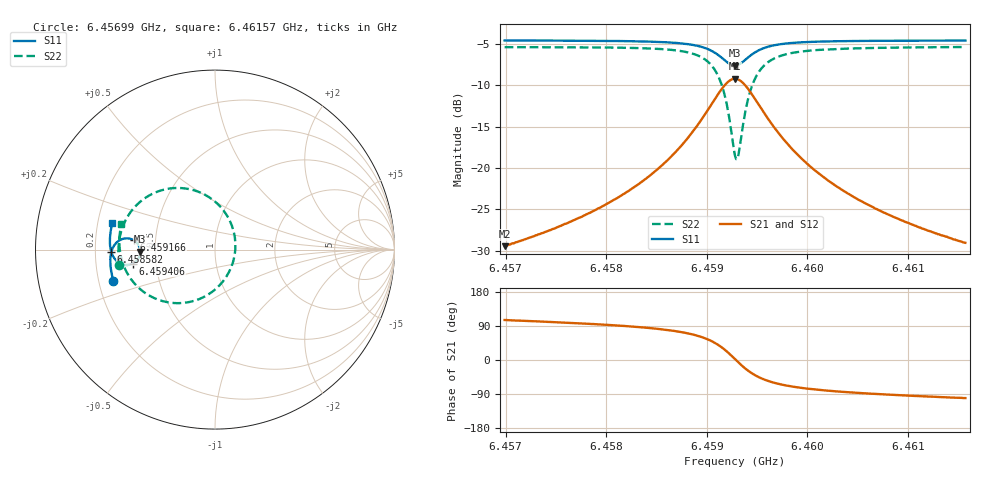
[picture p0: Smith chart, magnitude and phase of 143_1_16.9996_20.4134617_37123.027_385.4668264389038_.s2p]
#  HZ  S  RI  R  50.00
! Rohde & Schwarz Vector Network Analyzer
! Rohde-Schwarz,ZNB20-2Port,1311601062101988,3.16
! Created: UTC 3/20/2024, 10:58:25 PM
! freq[Hz]  re:S11  im:S11  re:S21  im:S21  re:S12  im:S12  re:S22  im:S22
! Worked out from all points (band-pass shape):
!   401 points, 6.45699 GHz to 6.46157 GHz, reference 50 ohm
!   highest |S21| = -9.19 dB at 6.45928 GHz (marker M1); lowest = -29.4 dB at 6.45699 GHz (marker M2)
!   |S21| within 3 dB of the highest: 6.459051 GHz to 6.459509 GHz (458.2 kHz wide, 0.00709 % of centre)
!   lowest |S11| = -7.6 dB at 6.45928 GHz (marker M3), VSWR 2.43, Z = 20.6 - j0.57 ohm
!   |S11| at or under -10 dB: nowhere
!   |S22| runs from -18.9 to -5.3 dB; largest |S21 - S12| = 0.014
!   S11 on the Smith chart (normalised r, x): 6.45699 GHz: 0.26, -0.14; 6.458582 GHz: 0.27, -0.01; 6.459166 GHz: 0.37, +0.05; 6.459406 GHz: 0.37, -0.07; 6.46157 GHz: 0.26, +0.12
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6.4569905e9  -0.5665 -0.1726  -0.00904 0.0325  -0.00726 0.0325  -0.5327 -0.0844
6.4577576e9  -0.5805 -0.1053  -0.00572 0.0505  -0.00314 0.0501  -0.5379 0.0057
6.4582042e9  -0.5833 -0.0603  0.000861 0.0717  0.0041 0.0703  -0.5288 0.0774
6.4585248e9  -0.5794 -0.0215  0.0142 0.0991  0.0182 0.0964  -0.5044 0.1507
6.458582e9  -0.5778 -0.0136  0.0185 0.1061  0.0227 0.103  -0.4961 0.1674
6.4587881e9  -0.5647 0.0186  0.0461 0.1388  0.0503 0.1338  -0.4444 0.2403
6.458937e9  -0.542 0.0449  0.0917 0.1694  0.0948 0.1627  -0.3606 0.3048
6.4590744e9  -0.4979 0.0625  0.1794 0.186  0.1802 0.1787  -0.2008 0.3434
6.459166e9  -0.4529 0.0522  0.2697 0.1545  0.27 0.1488  -0.0336 0.2926
6.4592347e9  -0.4235 0.0199  0.3307 0.0823  0.3326 0.0771  0.0817 0.1624
6.4592805e9  -0.4166 -0.0114  0.3467 0.0141  0.3504 0.00707  0.1135 0.0348
6.4592919e9  -0.4171 -0.0195  0.3465 -0.00376  0.3504 -0.0114  0.1133 0.00109
6.4593148e9  -0.4207 -0.0353  0.3409 -0.0387  0.3448 -0.0477  0.1019 -0.0648
6.4593606e9  -0.4364 -0.0615  0.3121 -0.0988  0.3144 -0.1106  0.0438 -0.178
6.4594064e9  -0.4585 -0.078  0.27 -0.1398  0.269 -0.1532  -0.0418 -0.2526
6.459498e9  -0.5022 -0.0849  0.1847 -0.171  0.1787 -0.1825  -0.211 -0.2984
6.4596469e9  -0.5463 -0.0646  0.0967 -0.157  0.0883 -0.1632  -0.3784 -0.2487
6.4598072e9  -0.568 -0.0368  0.0517 -0.1291  0.0441 -0.1319  -0.4588 -0.1766
6.4600476e9  -0.5809 -0.00127  0.0225 -0.0974  0.0167 -0.0981  -0.5068 -0.0941
6.4603911e9  -0.5856 0.0396  0.00635 -0.0706  0.00239 -0.0701  -0.5284 -0.0151
6.4608148e9  -0.5838 0.0823  -0.00128 -0.052  -0.00413 -0.0512  -0.5326 0.0531
6.4615705e9  -0.5719 0.1493  -0.00644 -0.0347  -0.00813 -0.0337  -0.5215 0.1424
